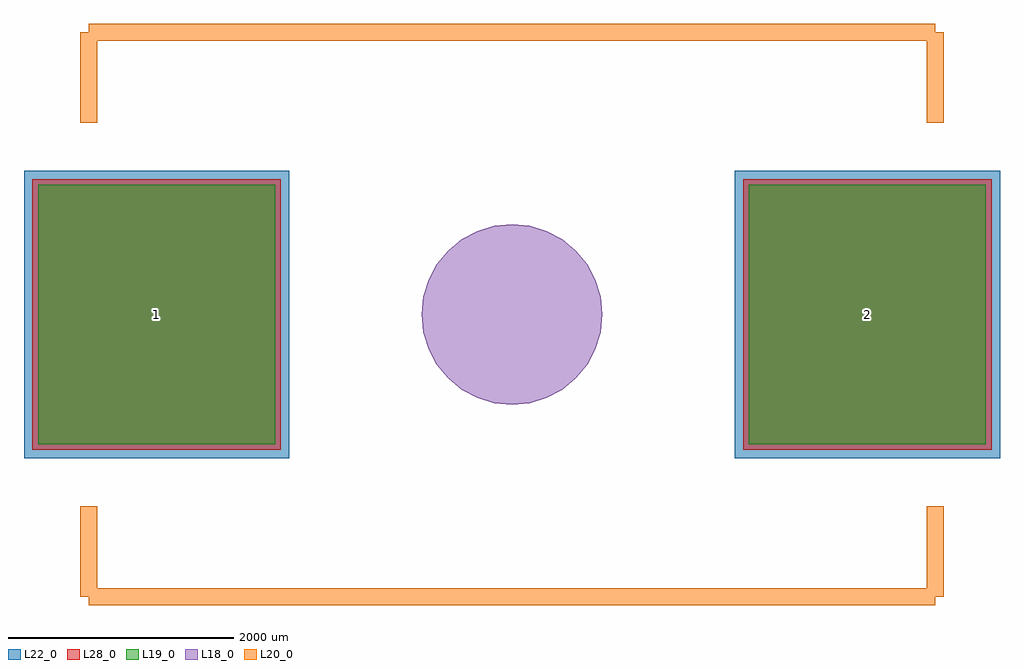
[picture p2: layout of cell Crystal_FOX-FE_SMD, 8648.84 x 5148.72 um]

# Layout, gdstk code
import gdstk
lib = gdstk.Library(unit=1e-6, precision=1e-09)
def R(c, l, rs):  # rectangles x0, y0, x1, y1
    for r in rs: c.add(gdstk.rectangle(r[:2], r[2:], *l))
def P(c, l, *ps):  # polygons
    for p in ps: c.add(gdstk.Polygon(p, *l))
L18_0 = (18, 0)
L19_0 = (19, 0)
L20_0 = (20, 0)
L22_0 = (22, 0)
L28_0 = (28, 0)

crystal_fox_fe_smd = lib.new_cell('Crystal_FOX-FE_SMD')
P(crystal_fox_fe_smd, L18_0, [(158.236,0),(155.196,30.87),(146.191,60.554),(131.568,87.911),(111.89,111.89),(87.911,131.568),(60.554,146.191),(30.87,155.196),(0,158.236),(-30.87,155.196),(-60.554,146.191),(-87.911,131.568),(-111.89,111.89),(-131.568,87.911),(-146.191,60.554),(-155.196,30.87),(-158.236,0),(-155.196,-30.87),(-146.191,-60.554),(-131.568,-87.911),(-111.89,-111.89),(-87.911,-131.568),(-60.554,-146.191),(-30.87,-155.196),(0,-158.236),(30.87,-155.196),(60.554,-146.191),(87.911,-131.568),(111.89,-111.89),(131.568,-87.911),(146.191,-60.554),(155.196,-30.87)],
  [(500.38,0),(490.765,97.619),(462.291,191.487),(416.051,277.996),(353.822,353.822),(277.996,416.051),(191.487,462.291),(97.619,490.765),(0,500.38),(-97.619,490.765),(-191.487,462.291),(-277.996,416.051),(-353.822,353.822),(-416.051,277.996),(-462.291,191.487),(-490.765,97.619),(-500.38,0),(-490.765,-97.619),(-462.291,-191.487),(-416.051,-277.996),(-353.822,-353.822),(-277.996,-416.051),(-191.487,-462.291),(-97.619,-490.765),(0,-500.38),(97.619,-490.765),(191.487,-462.291),(277.996,-416.051),(353.822,-353.822),(416.051,-277.996),(462.291,-191.487),(490.765,-97.619)],
  [(800.1,0),(784.726,156.092),(739.196,306.185),(665.259,444.512),(565.756,565.756),(444.512,665.259),(306.185,739.196),(156.092,784.726),(0,800.1),(-156.092,784.726),(-306.185,739.196),(-444.512,665.259),(-565.756,565.756),(-665.259,444.512),(-739.196,306.185),(-784.726,156.092),(-800.1,0),(-784.726,-156.092),(-739.196,-306.185),(-665.259,-444.512),(-565.756,-565.756),(-444.512,-665.259),(-306.185,-739.196),(-156.092,-784.726),(0,-800.1),(156.092,-784.726),(306.185,-739.196),(444.512,-665.259),(565.756,-565.756),(665.259,-444.512),(739.196,-306.185),(784.726,-156.092)])
R(crystal_fox_fe_smd, L19_0, [(-4199.42,-1150.15,-2099.78,1150.15), (2099.78,-1150.15,4199.42,1150.15)])
R(crystal_fox_fe_smd, L22_0, [(-4324.42,-1275.15,-1974.78,1275.15), (1974.78,-1275.15,4324.42,1275.15)])
R(crystal_fox_fe_smd, L28_0, [(-4249.42,-1200.15,-2049.78,1200.15), (2049.78,-1200.15,4249.42,1200.15)])
crystal_fox_fe_smd.add(gdstk.FlexPath([(3749.04,2499.36),(-3749.04,2499.36)], 149.998, ends="flush", simple_path=True, layer=20, datatype=0))  # L20_0
crystal_fox_fe_smd.add(gdstk.FlexPath([(-3749.04,-2499.36),(3749.04,-2499.36)], 149.998, ends="flush", simple_path=True, layer=20, datatype=0))  # L20_0
crystal_fox_fe_smd.add(gdstk.FlexPath([(3749.04,-2499.36),(3749.04,-1699.26)], 149.998, ends="flush", simple_path=True, layer=20, datatype=0))  # L20_0
crystal_fox_fe_smd.add(gdstk.FlexPath([(3749.04,2499.36),(3749.04,1699.26)], 149.998, ends="flush", simple_path=True, layer=20, datatype=0))  # L20_0
crystal_fox_fe_smd.add(gdstk.FlexPath([(-3749.04,2499.36),(-3749.04,1699.26)], 149.998, ends="flush", simple_path=True, layer=20, datatype=0))  # L20_0
crystal_fox_fe_smd.add(gdstk.FlexPath([(-3749.04,-2499.36),(-3749.04,-1699.26)], 149.998, ends="flush", simple_path=True, layer=20, datatype=0))  # L20_0
crystal_fox_fe_smd.add(gdstk.Label('2', (3149.6,0), layer=28, texttype=0))
crystal_fox_fe_smd.add(gdstk.Label('1', (-3149.6,0), layer=28, texttype=0))
crystal_fox_fe_smd.add(gdstk.Label('type', (1270,-5080), layer=9, texttype=0))
crystal_fox_fe_smd.add(gdstk.Label('devicename', (0,3810), layer=9, texttype=0))

lib.write_gds('Crystal_FOX-FE_SMD.gds')
